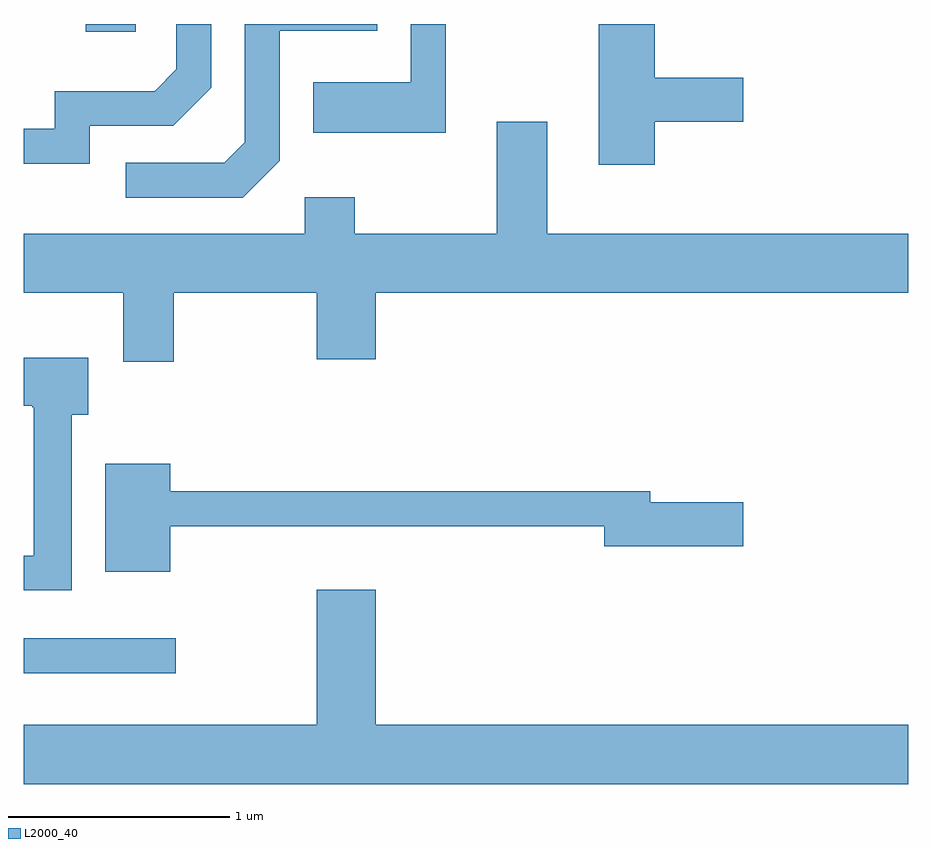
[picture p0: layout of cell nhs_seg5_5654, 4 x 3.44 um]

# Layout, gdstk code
import gdstk
lib = gdstk.Library(unit=1e-6, precision=1e-09)
def R(c, l, rs):  # rectangles x0, y0, x1, y1
    for r in rs: c.add(gdstk.rectangle(r[:2], r[2:], *l))
def P(c, l, *ps):  # polygons
    for p in ps: c.add(gdstk.Polygon(p, *l))
L2000_40 = (2000, 40)

nhs_seg5_5654 = lib.new_cell('nhs_seg5_5654')
R(nhs_seg5_5654, L2000_40, [(353.611,1395.136,354.298,1395.294), (353.891,1398.036,354.119,1398.072)])
P(nhs_seg5_5654, L2000_40, [(356.464,1397.631),(356.864,1397.631),(356.864,1397.829),(356.464,1397.829),(356.464,1398.072),(356.211,1398.072),(356.211,1397.436),(356.464,1397.436)],
  [(354.769,1397.454),(354.769,1398.041),(355.209,1398.041),(355.209,1398.072),(354.611,1398.072),(354.611,1397.537),(354.519,1397.444),(354.073,1397.444),(354.073,1397.286),(354.602,1397.286)],
  [(353.909,1397.611),(354.287,1397.611),(354.459,1397.784),(354.459,1398.072),(354.301,1398.072),(354.301,1397.867),(354.204,1397.769),(353.751,1397.769),(353.751,1397.599),(353.611,1397.599),(353.611,1397.441),(353.909,1397.441)],
  [(355.519,1398.072),(355.361,1398.072),(355.361,1397.809),(354.921,1397.809),(354.921,1397.581),(355.519,1397.581)],
  [(354.289,1396.856),(354.936,1396.856),(354.936,1396.556),(355.204,1396.556),(355.204,1396.856),(357.611,1396.856),(357.611,1397.124),(355.979,1397.124),(355.979,1397.629),(355.751,1397.629),(355.751,1397.124),(355.109,1397.124),(355.109,1397.289),(354.881,1397.289),(354.881,1397.124),(353.611,1397.124),(353.611,1396.856),(354.061,1396.856),(354.061,1396.546),(354.289,1396.546)],
  [(353.829,1396.306),(353.904,1396.306),(353.904,1396.564),(353.611,1396.564),(353.611,1396.346),(353.65,1396.346),(353.65,1396.34),(353.656,1396.34),(353.656,1395.669),(353.611,1395.669),(353.611,1395.511),(353.829,1395.511)],
  [(354.274,1395.801),(356.236,1395.801),(356.236,1395.711),(356.864,1395.711),(356.864,1395.909),(356.444,1395.909),(356.444,1395.959),(354.274,1395.959),(354.274,1396.084),(353.981,1396.084),(353.981,1395.596),(354.274,1395.596)],
  [(357.611,1394.904),(355.204,1394.904),(355.204,1395.514),(354.936,1395.514),(354.936,1394.904),(353.611,1394.904),(353.611,1394.636),(357.611,1394.636)])

lib.write_gds('nhs_seg5_5654.gds')
